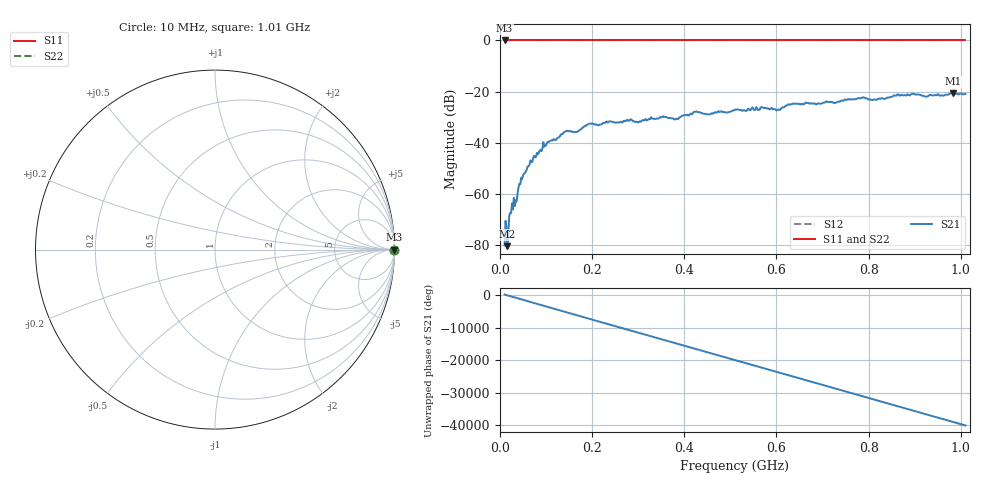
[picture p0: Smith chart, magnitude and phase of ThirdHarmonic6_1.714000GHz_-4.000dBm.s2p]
! 8/16/2025 8:37:05 PM
! C:\ANRITSUVNA\TEMP\TEMP.S2P
! CHANNEL.1
! TR.MEASUREMENT
! RAW.DATA
! RF.CORRECTION.OFF
! AVERAGING.OFF
! IF.BANDWIDTH: 5KHZ
! SWEEPTYPE:  FREQ.SWEEP(Linear)
! Reference Plane Port Info
! PORT:  PORT1  PORT2
! DISTANCE:  0  m  0  m
! TIME:  0  s  0  s
! PHASE.OFFSET:  0  deg.  0  deg.
! LOSS:  0  dB  0  dB
! REF.LOSS:  0  dB  0  dB
! REF.FREQ:  0  Hz  0  Hz
! Power Info
! POWER:  -20  dBm  -20  dBm
! EFF.POWER:  -20  dBm  -20  dBm
! SOURCE.ATTEN:  0  dB  0  dB
! TEST.ATTEN:  0  dB  0  dB
# GHZ S RI R 50.0
! FREQ.GHZ  S11RE  S11IM  S21RE  S21IM  S12RE  S12IM  S22RE  S22IM
!; PortSelection: Port_12
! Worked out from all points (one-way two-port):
!   501 points, 10 MHz to 1.01 GHz, reference 50 ohm
!   highest |S21| = -20.67 dB at 984 MHz (marker M1); lowest = -80.5 dB at 16 MHz (marker M2)
!   lowest |S11| = 0.0 dB at 10 MHz (marker M3)
!   |S11| at or under -10 dB: nowhere
!   |S22| runs from 0.0 to 0.0 dB; largest |S21 - S12| = 1.1
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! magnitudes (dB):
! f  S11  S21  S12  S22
! 10 MHz  0.0  -80.3  0.0  0.0
! 14 MHz  0.0  -73.2  0.0  0.0
! 16 MHz  0.0  -80.5  0.0  0.0
! 20 MHz  0.0  -68.5  0.0  0.0
! 26 MHz  0.0  -63.7  0.0  0.0
! 36 MHz  0.0  -63.0  0.0  0.0
! 44 MHz  0.0  -56.3  0.0  0.0
! 70 MHz  0.0  -47.6  0.0  0.0
! 106 MHz  0.0  -39.7  0.0  0.0
! 142 MHz  0.0  -35.7  0.0  0.0
! 178 MHz  0.0  -34.3  0.0  0.0
! 196 MHz  0.0  -32.5  0.0  0.0
! 344 MHz  0.0  -30.6  0.0  0.0
! 382 MHz  0.0  -30.8  0.0  0.0
! 424 MHz  0.0  -27.9  0.0  0.0
! 510 MHz  0.0  -27.1  0.0  0.0
! 604 MHz  0.0  -27.0  0.0  0.0
! 630 MHz  0.0  -25.1  0.0  0.0
! 678 MHz  0.0  -24.7  0.0  0.0
! 844 MHz  0.0  -22.4  0.0  0.0
! 984 MHz  0.0  -20.7  0.0  0.0
! 1.01 GHz  0.0  -21.0  0.0  0.0
